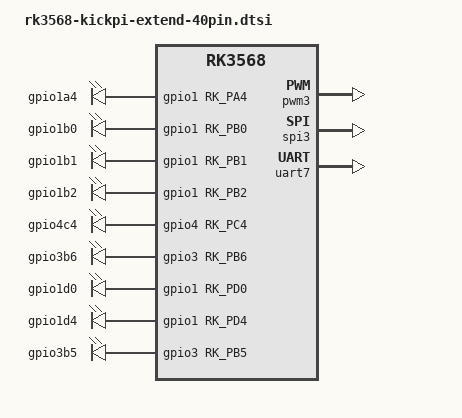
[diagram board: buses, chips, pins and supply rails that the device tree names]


&leds {
    gpio1a4 {
        gpios = <&gpio1 RK_PA4 GPIO_ACTIVE_HIGH>;
        default-state = "off";
    };
    gpio1b0 {
        gpios = <&gpio1 RK_PB0 GPIO_ACTIVE_HIGH>;
        default-state = "off";
    };
    gpio1b1 {
        gpios = <&gpio1 RK_PB1 GPIO_ACTIVE_HIGH>;
        default-state = "off";
    };
    gpio1b2 {
        gpios = <&gpio1 RK_PB2 GPIO_ACTIVE_HIGH>;
        default-state = "off";
    };
    gpio4c4 {
        gpios = <&gpio4 RK_PC4 GPIO_ACTIVE_HIGH>;
        default-state = "off";
    };
    gpio3b6 {
        gpios = <&gpio3 RK_PB6 GPIO_ACTIVE_HIGH>;
        default-state = "off";
    };
    gpio1d0 {
        gpios = <&gpio1 RK_PD0 GPIO_ACTIVE_HIGH>;
        default-state = "off";
    };
    gpio1d4 {
        gpios = <&gpio1 RK_PD4 GPIO_ACTIVE_HIGH>;
        default-state = "off";
    };
    gpio3b5 {
        gpios = <&gpio3 RK_PB5 GPIO_ACTIVE_HIGH>;
        default-state = "off";
    };
};


&pwm3 {
    status = "okay";
};

&spi3 {
    status = "okay";
    pinctrl-names = "default", "high_speed";
    pinctrl-0 = <&spi3m1_pins>;
    pinctrl-1 = <&spi3m1_pins_hs>;
};

&i2c3 {
    status = "disabled";
    pinctrl-names = "default";
    pinctrl-0 = <&i2c3m0_xfer>;
};

&i2c2 {
    status = "disabled";
    pinctrl-names = "default";
    pinctrl-0 = <&i2c2m1_xfer>;
};

&uart0 {
    status = "disabled";
    pinctrl-names = "default";
    pinctrl-0 = <&uart0_xfer>;
};

&uart3 {
    status = "disabled";
    pinctrl-names = "default";
    pinctrl-0 = <&uart3m1_xfer>;
};

&uart4 {
    /* M2.2 正式方案（2026-08-24）：UART4 释放给 core1（AMP RTOS）独占。
     * 原 status="okay" 会让 Linux 8250 占用 UART4 外设 + uart4m1 引脚，
     * 与 core1 冲突；core1 在 u-boot 阶段自行初始化（CRU 时钟 + IOC 引脚 + 波特率）。 */
    status = "disabled";
    pinctrl-names = "default";
    pinctrl-0 = <&uart4m1_xfer>;
};

&uart7 {
    status = "okay";
    pinctrl-names = "default";
    pinctrl-0 = <&uart7m1_xfer>;
};
